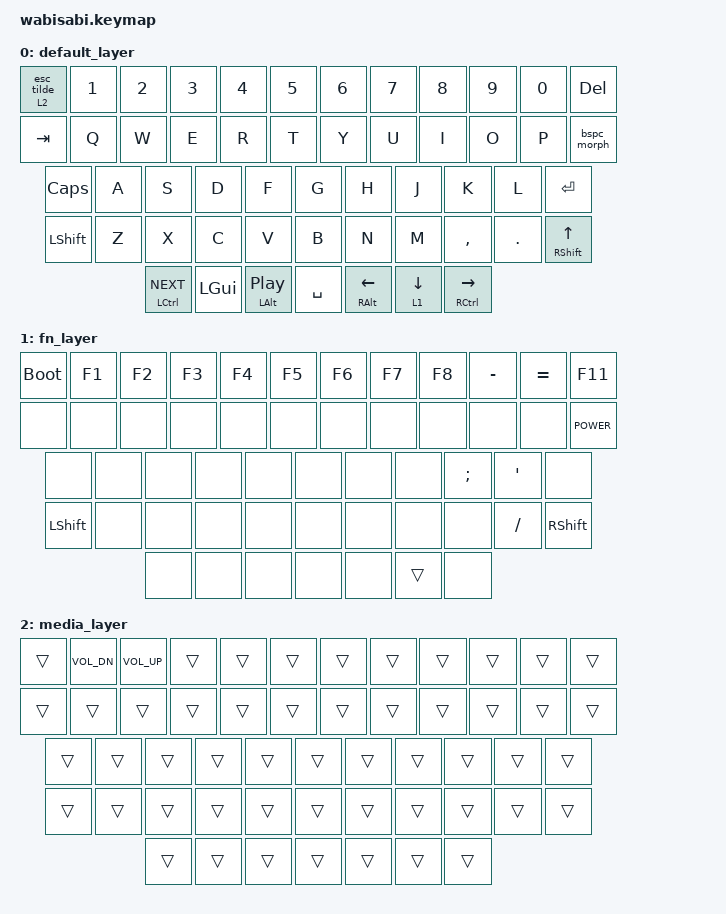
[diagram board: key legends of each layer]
// This file was modified to add Volume Up/Down on ESC + 1/2
#include <behaviors.dtsi>
#include <dt-bindings/zmk/keys.h>

/ {
    behaviors {
        // High quick-tap window for modifiers
        tp_kp: tap_preferred_kp {
            compatible = "zmk,behavior-hold-tap";
            #binding-cells = <2>;
            flavor = "hold-preferred";
            tapping-term-ms = <200>;
            quick-tap-ms = <1000>; 
            bindings = <&kp>, <&kp>;
        };

        // High quick-tap window for Layer
        tp_lyr: tap_preferred_layer {
            compatible = "zmk,behavior-hold-tap";
            #binding-cells = <2>;
            flavor = "hold-preferred";
            tapping-term-ms = <200>;
            quick-tap-ms = <1000>; 
            bindings = <&mo>, <&kp>;
        };
        
        esc_tilde: esc_tilde {
            compatible = "zmk,behavior-mod-morph";
            #binding-cells = <0>;
            bindings = <&kp ESC>, <&kp TILDE>;
            mods = <(MOD_LSFT|MOD_RSFT)>;
        };

        // NEW BEHAVIOR: Layer-tap that triggers esc_tilde on tap, or layer 2 on hold
        esc_media: esc_media {
            compatible = "zmk,behavior-hold-tap";
            #binding-cells = <2>;
            flavor = "hold-preferred";
            tapping-term-ms = <200>;
            bindings = <&mo>, <&esc_tilde>;
        };

        bspc_morph: bspc_morph {
            compatible = "zmk,behavior-mod-morph";
            label = "BSPC_MORPH";
            #binding-cells = <0>;
            bindings = <&kp BSPC>, <&kp BSLH>;
            mods = <(MOD_LSFT|MOD_RSFT)>;
        };        
    };

    keymap {
        compatible = "zmk,keymap";

        default_layer {
            bindings = <
                /* Row 0 */
                &esc_media 2 0  &kp N1 &kp N2 &kp N3 &kp N4 &kp N5 &kp N6 &kp N7 &kp N8 &kp N9 &kp N0 &kp DEL

                /* Row 1 */
                &kp TAB   &kp Q &kp W &kp E &kp R &kp T &kp Y &kp U &kp I &kp O &kp P &bspc_morph

                /* Row 2 */
                &kp CAPS  &kp A &kp S &kp D &kp F &kp G &kp H &kp J &kp K &kp L &kp ENTER

                /* Row 3 */
                &kp LSHIFT &kp Z &kp X &kp C &kp V &kp B &kp N &kp M &kp COMMA &kp DOT &tp_kp RSHIFT UP

                /* Row 4 */
                &mt LCTRL C_NEXT &kp LGUI &mt LALT C_PLAY_PAUSE &kp SPACE &tp_kp RALT LEFT &tp_lyr 1 DOWN &tp_kp RCTRL RIGHT
            >;
        };

        fn_layer {
            bindings = <
                /* Row 0 */
                &bootloader &kp F1 &kp F2 &kp F3 &kp F4 &kp F5 &kp F6 &kp F7 &kp F8 &kp MINUS &kp EQUAL &kp F11

                /* Row 1 */
                &none   &none &none &none &none &none &none &none &none &none &none &kp C_POWER

                /* Row 2 */
                &none  &none &none &none &none &none &none &none &kp SEMI &kp SQT &none

                /* Row 3 */
                &kp LSHIFT &none &none &none &none &none &none &none &none &kp SLASH &kp RSHIFT

                /* Row 4 */
                &none &none &none &none &none &trans &none
            >;
        };

        // NEW LAYER: Activated by holding ESC
        media_layer {
            bindings = <
                /* Row 0 */
                &trans &kp C_VOL_DN &kp C_VOL_UP &trans &trans &trans &trans &trans &trans &trans &trans &trans

                /* Row 1-4 are transparent so other keys work normally while holding ESC */
                &trans &trans &trans &trans &trans &trans &trans &trans &trans &trans &trans &trans
                &trans &trans &trans &trans &trans &trans &trans &trans &trans &trans &trans 
                &trans &trans &trans &trans &trans &trans &trans &trans &trans &trans &trans
                &trans &trans &trans &trans &trans &trans &trans
            >;
        };
    };
};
